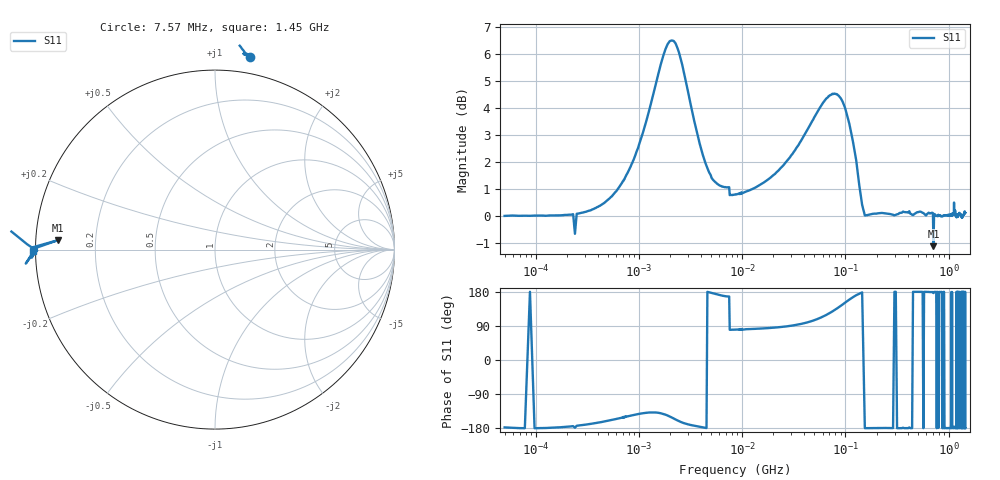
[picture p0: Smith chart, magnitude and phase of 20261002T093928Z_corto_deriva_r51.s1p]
! piloto_deriva / corto_deriva / r51
# HZ S RI R 50
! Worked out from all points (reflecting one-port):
!   501 points, 50 kHz to 1.45 GHz, reference 50 ohm
!   lowest |S11| = -1.1 dB at 712 MHz (marker M1), VSWR 15.31, Z = 3.27 + j1.48 ohm
!   phase of S11 starts at -178 deg and turns -2 deg over the sweep
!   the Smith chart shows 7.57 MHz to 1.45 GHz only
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50000  -0.9977 -0.0374
183000  -1 -0.0521
373000  -1.004 -0.2343
658000  -1.015 -0.5118
1180000  -1.136 -0.978
1630000  -1.476 -1.211
1990000  -1.81 -1.078
2170000  -1.901 -0.9101
2440000  -1.901 -0.6425
3070000  -1.631 -0.2689
4330000  -1.264 -0.0307
7300000  -1.102 0.2429
7750000  0.1935 1.075
8560000  0.1876 1.078
1.9e7  0.1094 1.173
3.16e7  -0.0358 1.312
4.69e7  -0.3231 1.453
6.67e7  -0.8369 1.427
7.93e7  -1.139 1.236
9.37e7  -1.355 0.9004
9.82e7  -1.385 0.7838
1e8  -1.391 0.7367
1.18e8  -1.331 0.3398
1.36e8  -1.134 0.1005
1.63e8  -1.002 -0.00363
4.06e8  -1.013 -0.00387
7.12e8  -0.8759 0.0521
1.45e9  -1.011 -0.0057
